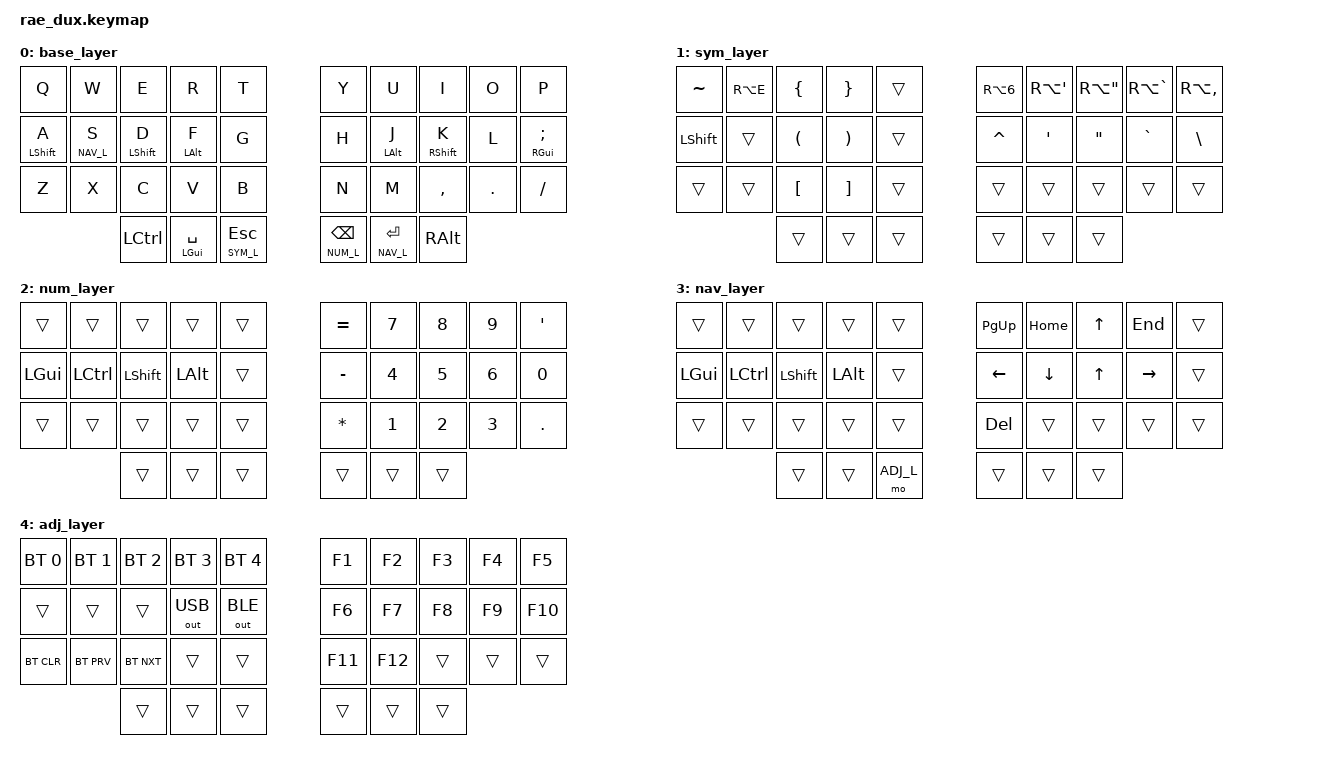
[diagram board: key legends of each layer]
/*
 * Copyright (c) 2021 The ZMK Contributors
 *
 * SPDX-License-Identifier: MIT
 */

#include <behaviors.dtsi>
#include <dt-bindings/zmk/bt.h>
#include <dt-bindings/zmk/outputs.h>
#include <dt-bindings/zmk/keys.h>

/* stick key */
&sk {
    release-after-ms = <750>;
    quick-release;
};

&caps_word {
    continue-list = <UNDERSCORE MINUS BSPC>;
};

#define BASE_L  0
#define SYM_L   1
#define NUM_L   2
#define NAV_L   3
#define ADJ_L   4


/ {
    macros {
        ZMK_MACRO(scope, wait-ms = <30>; tap-ms = <30>; bindings = <&kp COLON &kp COLON>;)
        ZMK_MACRO(lambda, wait-ms = <30>; tap-ms = <30>; bindings = <&kp L &kp A &kp M &kp B &kp D &kp A>;)
    };

    combos {
        compatible = "zmk,combos";


        /*                KEY POSITIONS

          ╭────────────────────╮ ╭────────────────────╮
          │  0   1   2   3   4 │ │  5   6   7   8   9 │
          │ 10  11  12  13  14 │ │ 15  16  17  18  19 │
          │ 20  21  22  23  24 │ │ 25  26  27  28  29 │
          ╰───────╮ 30  31  32 │ │ 33  34  35 ╭───────╯
                  ╰────────────╯ ╰────────────╯        */

    };

    behaviors {
        lhm: left_hand_positional_hold_tap {
            compatible = "zmk,behavior-hold-tap";
            label = "LEFT_POSITIONAL_HOLD_TAP";
            #binding-cells = <2>;
            flavor = "tap-preferred";
            tapping-term-ms = <200>;
            quick-tap-ms = <200>;
            bindings = <&kp>, <&kp>;
            // hold-trigger-key-positions = <5 6 7 8 9 15 16 17 18 19 25 26 27 28 29 30 31 32 33 34 35>;
            // hold-trigger-key-positions = <5 6 7 8 9 10 11 12 13 15 16 17 18 19 25 26 27 28 29 30 31 32 33 34 35>;
        };

        rhm: right_hand_positional_hold_tap {
            compatible = "zmk,behavior-hold-tap";
            label = "RIGHT_POSITIONAL_HOLD_TAP";
            #binding-cells = <2>;
            flavor = "tap-preferred";
            tapping-term-ms = <200>;
            quick-tap-ms = <200>;
            bindings = <&kp>, <&kp>;
            // hold-trigger-key-positions = <0 1 2 3 4 10 11 12 13 14 20 21 22 23 24 30 31 32 33 34 35>;
            // hold-trigger-key-positions = <0 1 2 3 4 10 11 12 13 14 16 17 18 19 20 21 22 23 24 30 31 32 33 34 35>;
        };
        tmt: thumb_hold_tap {
            compatible = "zmk,behavior-hold-tap";
            label = "THUMB_HOLD_TAP";
            #binding-cells = <2>;
            flavor = "hold-preferred";
            tapping-term-ms = <200>;
            quick-tap-ms = <200>;
            bindings = <&kp>, <&kp>;
        };
        blt: base_layer_hold_tap {
            compatible = "zmk,behavior-hold-tap";
            label = "BASE_LAYER_HOLD_TAP";
            #binding-cells = <2>;
            flavor = "hold-preferred";
            tapping-term-ms = <200>;
            quick-tap-ms = <200>;
            bindings = <&mo>, <&kp>;
        };
    };

	keymap {
		compatible = "zmk,keymap";

		base_layer {
			bindings = <
                   &kp Q        &kp W         &kp E        &kp R        &kp T     /*&  &*/    &kp Y              &kp U               &kp I                 &kp O         &kp P
                   &lhm LSHFT A &blt NAV_L S  &lhm LSHFT D &lhm LALT F  &kp G     /*&  &*/    &kp H              &rhm LALT J         &rhm RSHFT K          &kp L         &rhm RGUI SEMI
                   &kp Z        &kp X         &kp C        &kp V        &kp B     /*&  &*/    &kp N              &kp M               &kp COMMA             &kp DOT       &kp FSLH
				 /*&                &*/     &kp LCTRL    &lhm LGUI SPC    &blt SYM_L ESC  /*&  &*/  &blt NUM_L BSPC  &blt NAV_L RET  &kp RALT  /*&             &*/
			>;
		};

		sym_layer {
			bindings = <
                   &kp TILDE    &kp RA(E)     &kp LBRC     &kp RBRC     &trans     /*&  &*/    &kp RA(N6)   &kp RA(SQT) &kp RA(DQT)  &kp RA(GRAVE) &kp RA(COMMA)
                   &kp LSHFT    &trans        &kp LPAR     &kp RPAR     &trans     /*&  &*/    &kp CARET    &kp SQT      &kp DQT      &kp GRAVE    &kp BSLH
                   &trans       &trans        &kp LBKT     &kp RBKT     &trans     /*&  &*/    &trans       &trans       &trans       &trans       &trans
				 /*&                    &*/           &trans       &trans       &trans     /*&  &*/    &trans       &trans       &trans       /*&           &*/
			>;
		};

		num_layer {
			bindings = <
                   &trans       &trans       &trans       &trans       &trans      /*&  &*/    &kp EQUAL    &kp N7       &kp N8       &kp N9       &kp SQT
                   &kp LGUI     &kp LCTRL    &kp LSHFT    &kp LALT     &trans      /*&  &*/    &kp MINUS    &kp N4       &kp N5       &kp N6       &kp N0
                   &trans       &trans       &trans       &trans       &trans      /*&  &*/    &kp ASTRK    &kp N1       &kp N2       &kp N3       &kp DOT
				 /*&                   &*/           &trans       &trans       &trans      /*&  &*/    &trans       &trans       &trans       /*&             &*/
			>;
		};

		nav_layer {
			bindings = <
                   &trans       &trans       &trans       &trans       &trans      /*&  &*/    &kp PG_UP    &kp HOME     &kp UP       &kp END      &trans
                   &kp LGUI     &kp LCTRL    &kp LSHFT    &kp LALT     &trans      /*&  &*/    &kp LEFT     &kp DOWN     &kp UP       &kp RIGHT    &trans
                   &trans       &trans       &trans       &trans       &trans      /*&  &*/    &kp DEL      &trans       &trans       &trans       &trans
				 /*&                    &*/          &trans       &trans       &mo ADJ_L   /*&  &*/    &trans       &trans       &trans       /*&           &*/
			>;
		};

		adj_layer {
			bindings = <
                   &bt BT_SEL 0 &bt BT_SEL 1 &bt BT_SEL 2 &bt BT_SEL 3 &bt BT_SEL 4 /*&  &*/    &kp F1       &kp F2       &kp F3       &kp F4       &kp F5
                   &trans       &trans       &trans       &out OUT_USB &out OUT_BLE /*&  &*/    &kp F6       &kp F7       &kp F8       &kp F9       &kp F10
                   &bt BT_CLR   &bt BT_PRV   &bt BT_NXT   &trans       &trans       /*&  &*/    &kp F11      &kp F12      &trans       &trans       &trans
				 /*&                    &*/          &trans       &trans       &trans       /*&  &*/    &trans       &trans       &trans       /*&            &*/
			>;
		};

	};
};
